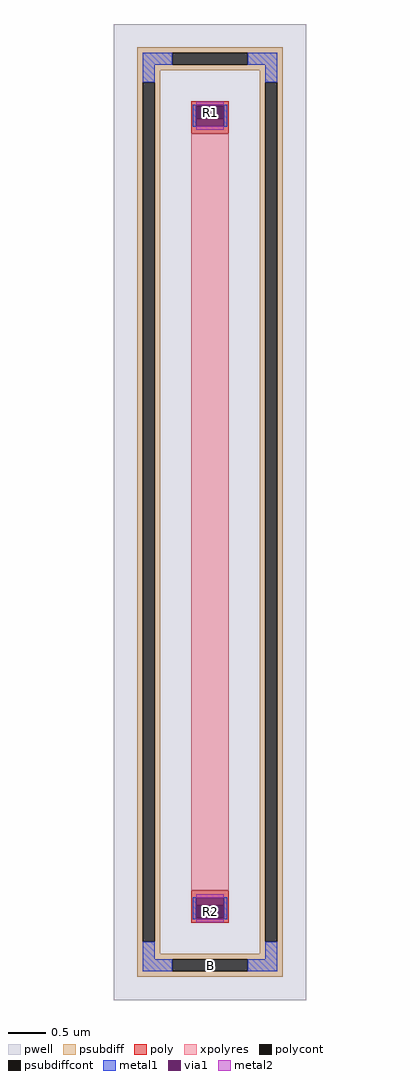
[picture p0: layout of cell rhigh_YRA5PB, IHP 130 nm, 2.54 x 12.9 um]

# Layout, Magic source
magic
tech ihp-sg13g2
magscale 1 2
<< pwell >>
rect -254 -1290 254 1290
<< psubdiff >>
rect -192 1214 192 1228
rect -192 1182 -100 1214
rect 100 1182 192 1214
rect -192 1168 192 1182
rect -192 1136 -132 1168
rect -192 -1136 -178 1136
rect -146 -1136 -132 1136
rect 132 1136 192 1168
rect -192 -1168 -132 -1136
rect 132 -1136 146 1136
rect 178 -1136 192 1136
rect 132 -1168 192 -1136
rect -192 -1182 192 -1168
rect -192 -1214 -100 -1182
rect 100 -1214 192 -1182
rect -192 -1228 192 -1214
<< psubdiffcont >>
rect -100 1182 100 1214
rect -178 -1136 -146 1136
rect 146 -1136 178 1136
rect -100 -1214 100 -1182
<< poly >>
rect -50 1072 50 1086
rect -50 1040 -36 1072
rect 36 1040 50 1072
rect -50 1000 50 1040
rect -50 -1040 50 -1000
rect -50 -1072 -36 -1040
rect 36 -1072 50 -1040
rect -50 -1086 50 -1072
<< polycont >>
rect -36 1040 36 1072
rect -36 -1072 36 -1040
<< xpolyres >>
rect -50 -1000 50 1000
<< metal1 >>
rect -178 1182 -100 1214
rect 100 1182 178 1214
rect -178 1136 -146 1182
rect 146 1136 178 1182
rect -46 1076 46 1077
rect -46 1020 -36 1076
rect 36 1020 46 1076
rect -46 1019 46 1020
rect -46 -1020 46 -1019
rect -46 -1076 -36 -1020
rect 36 -1076 46 -1020
rect -46 -1077 46 -1076
rect -178 -1182 -146 -1136
rect 146 -1182 178 -1136
rect -178 -1214 -100 -1182
rect 100 -1214 178 -1182
<< via1 >>
rect -36 1072 36 1076
rect -36 1040 36 1072
rect -36 1020 36 1040
rect -36 -1040 36 -1020
rect -36 -1072 36 -1040
rect -36 -1076 36 -1072
<< metal2 >>
rect -36 1076 36 1085
rect -36 1011 36 1020
rect -36 -1020 36 -1011
rect -36 -1085 36 -1076
<< labels >>
rlabel psubdiffcont 0 -1198 0 -1198 0 B
port 1 nsew
rlabel polycont 0 1056 0 1056 0 R1
port 2 nsew
rlabel polycont 0 -1056 0 -1056 0 R2
port 3 nsew
<< properties >>
string FIXED_BBOX -162 -1198 162 1198
string gencell rhigh
string library sg13g2
string parameters w 0.50 l 10 m 1 nx 1 wmin 0.50 lmin 0.50 class resistor rho 1360 val 27.2k dummy 0 dw 0.0 term 0.0 sterm 0.0 caplen 0 guard 1 glc 1 grc 1 gtc 1 gbc 1 snake 0 full_metal 1 n_guard 0 hv_guard 0 vias 1 viagb 0 viagt 0 viagl 0 viagr 0 doports 1
<< end >>
